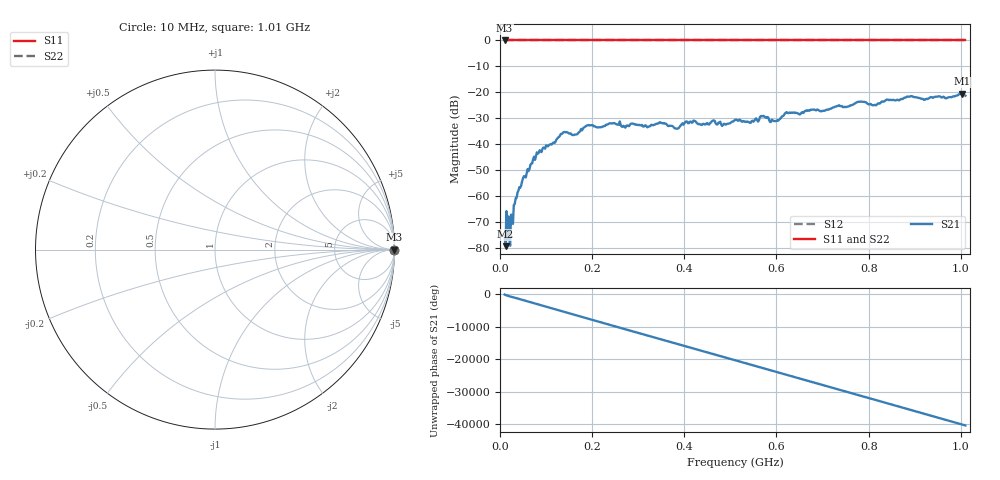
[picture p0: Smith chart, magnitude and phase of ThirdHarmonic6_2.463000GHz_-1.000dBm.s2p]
! 8/17/2025 4:28:55 AM
! C:\ANRITSUVNA\TEMP\TEMP.S2P
! CHANNEL.1
! TR.MEASUREMENT
! RAW.DATA
! RF.CORRECTION.OFF
! AVERAGING.OFF
! IF.BANDWIDTH: 5KHZ
! SWEEPTYPE:  FREQ.SWEEP(Linear)
! Reference Plane Port Info
! PORT:  PORT1  PORT2
! DISTANCE:  0  m  0  m
! TIME:  0  s  0  s
! PHASE.OFFSET:  0  deg.  0  deg.
! LOSS:  0  dB  0  dB
! REF.LOSS:  0  dB  0  dB
! REF.FREQ:  0  Hz  0  Hz
! Power Info
! POWER:  -20  dBm  -20  dBm
! EFF.POWER:  -20  dBm  -20  dBm
! SOURCE.ATTEN:  0  dB  0  dB
! TEST.ATTEN:  0  dB  0  dB
# GHZ S RI R 50.0
! FREQ.GHZ  S11RE  S11IM  S21RE  S21IM  S12RE  S12IM  S22RE  S22IM
!; PortSelection: Port_12
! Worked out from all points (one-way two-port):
!   501 points, 10 MHz to 1.01 GHz, reference 50 ohm
!   highest |S21| = -20.51 dB at 1.002 GHz (marker M1); lowest = -79.2 dB at 12 MHz (marker M2)
!   lowest |S11| = 0.0 dB at 10 MHz (marker M3)
!   |S11| at or under -10 dB: nowhere
!   |S22| runs from 0.0 to 0.0 dB; largest |S21 - S12| = 1.1
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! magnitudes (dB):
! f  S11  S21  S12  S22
! 10 MHz  0.0  -75.2  0.0  0.0
! 12 MHz  0.0  -79.2  0.0  0.0
! 24 MHz  0.0  -67.0  0.0  0.0
! 28 MHz  0.0  -70.6  0.0  0.0
! 38 MHz  0.0  -58.5  0.0  0.0
! 76 MHz  0.0  -46.0  0.0  0.0
! 136 MHz  0.0  -35.7  0.0  0.0
! 162 MHz  0.0  -36.2  0.0  0.0
! 178 MHz  0.0  -34.6  0.0  0.0
! 344 MHz  0.0  -31.9  0.0  0.0
! 384 MHz  0.0  -34.0  0.0  0.0
! 404 MHz  0.0  -31.2  0.0  0.0
! 486 MHz  0.0  -32.0  0.0  0.0
! 510 MHz  0.0  -30.6  0.0  0.0
! 542 MHz  0.0  -31.7  0.0  0.0
! 570 MHz  0.0  -29.2  0.0  0.0
! 600 MHz  0.0  -31.0  0.0  0.0
! 622 MHz  0.0  -27.6  0.0  0.0
! 678 MHz  0.0  -26.7  0.0  0.0
! 844 MHz  0.0  -23.0  0.0  0.0
! 1.002 GHz  0.0  -20.5  0.0  0.0
! 1.01 GHz  0.0  -21.3  0.0  0.0
